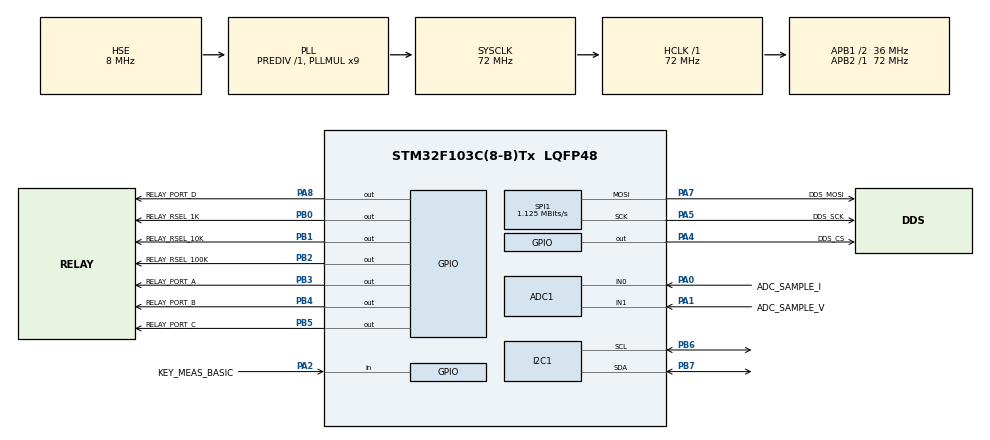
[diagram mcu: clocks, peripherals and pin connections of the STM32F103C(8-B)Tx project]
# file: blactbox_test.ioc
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ADC1.Channel-2\#ChannelRegularConversion=ADC_CHANNEL_0
ADC1.Channel-3\#ChannelRegularConversion=ADC_CHANNEL_1
ADC1.NbrOfConversion=2
ADC1.NbrOfConversionFlag=1
ADC1.Rank-2\#ChannelRegularConversion=1
ADC1.Rank-3\#ChannelRegularConversion=2
ADC1.SamplingTime-2\#ChannelRegularConversion=ADC_SAMPLETIME_239CYCLES_5
ADC1.SamplingTime-3\#ChannelRegularConversion=ADC_SAMPLETIME_239CYCLES_5
ADC1.master=1
Dma.ADC1.0.Direction=DMA_PERIPH_TO_MEMORY
Dma.ADC1.0.Instance=DMA1_Channel1
Dma.ADC1.0.MemDataAlignment=DMA_MDATAALIGN_HALFWORD
Dma.ADC1.0.MemInc=DMA_MINC_ENABLE
Dma.ADC1.0.Mode=DMA_NORMAL
Dma.ADC1.0.PeriphDataAlignment=DMA_PDATAALIGN_HALFWORD
Dma.ADC1.0.PeriphInc=DMA_PINC_DISABLE
Dma.ADC1.0.Priority=DMA_PRIORITY_LOW
Dma.Request0=ADC1
I2C1.I2C_Mode=I2C_Standard
Mcu.Family=STM32F1
Mcu.Name=STM32F103C(8-B)Tx
Mcu.Package=LQFP48
NVIC.DMA1_Channel1_IRQn=true\:0\:0\:false\:false\:true\:false\:true\:true
NVIC.PriorityGroup=NVIC_PRIORITYGROUP_4
PA0-WKUP.GPIO_Label=ADC_SAMPLE_I
PA0-WKUP.Signal=ADCx_IN0
PA1.GPIO_Label=ADC_SAMPLE_V
PA1.Signal=ADCx_IN1
PA13.Mode=Serial_Wire
PA13.Signal=SYS_JTMS-SWDIO
PA14.Mode=Serial_Wire
PA14.Signal=SYS_JTCK-SWCLK
PA2.GPIO_Label=KEY_MEAS_BASIC
PA2.GPIO_PuPd=GPIO_PULLDOWN
PA2.Signal=GPIO_Input
PA4.GPIO_Label=DDS_CS
PA4.PinState=GPIO_PIN_SET
PA4.Signal=GPIO_Output
PA5.GPIO_Label=DDS_SCK
PA5.Mode=TX_Only_Simplex_Unidirect_Master
PA5.Signal=SPI1_SCK
PA7.GPIO_Label=DDS_MOSI
PA7.Mode=TX_Only_Simplex_Unidirect_Master
PA7.Signal=SPI1_MOSI
PA8.GPIO_Label=RELAY_PORT_D
PA8.Signal=GPIO_Output
PB0.GPIO_Label=RELAY_RSEL_1K
PB0.Signal=GPIO_Output
PB1.GPIO_Label=RELAY_RSEL_10K
PB1.Signal=GPIO_Output
PB2.GPIO_Label=RELAY_RSEL_100K
PB2.Signal=GPIO_Output
PB3.GPIO_Label=RELAY_PORT_A
PB3.Signal=GPIO_Output
PB4.GPIO_Label=RELAY_PORT_B
PB4.Signal=GPIO_Output
PB5.GPIO_Label=RELAY_PORT_C
PB5.Signal=GPIO_Output
PB6.Mode=I2C
PB6.Signal=I2C1_SCL
PB7.Mode=I2C
PB7.Signal=I2C1_SDA
PD0-OSC_IN.Mode=HSE-External-Oscillator
PD0-OSC_IN.Signal=RCC_OSC_IN
PD1-OSC_OUT.Mode=HSE-External-Oscillator
PD1-OSC_OUT.Signal=RCC_OSC_OUT
ProjectManager.HeapSize=0x200
ProjectManager.StackSize=0x400
ProjectManager.TargetToolchain=CMake
RCC.ADCPresc=RCC_ADCPCLK2_DIV6
RCC.AHBFreq_Value=72000000
RCC.APB1CLKDivider=RCC_HCLK_DIV2
RCC.APB1Freq_Value=36000000
RCC.APB1TimFreq_Value=72000000
RCC.APB2Freq_Value=72000000
RCC.APB2TimFreq_Value=72000000
RCC.HCLKFreq_Value=72000000
RCC.PLLMUL=RCC_PLL_MUL9
RCC.PLLSourceVirtual=RCC_PLLSOURCE_HSE
RCC.SYSCLKFreq_VALUE=72000000
RCC.SYSCLKSource=RCC_SYSCLKSOURCE_PLLCLK
RCC.USBFreq_Value=72000000
SH.ADCx_IN0.0=ADC1_IN0,IN0
SH.ADCx_IN1.0=ADC1_IN1,IN1
SPI1.BaudRatePrescaler=SPI_BAUDRATEPRESCALER_64
SPI1.CalculateBaudRate=1.125 MBits/s
SPI1.DataSize=SPI_DATASIZE_16BIT
SPI1.Direction=SPI_DIRECTION_2LINES
SPI1.Mode=SPI_MODE_MASTER
SPI1.VirtualType=VM_MASTER
board=custom

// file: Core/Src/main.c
/* USER CODE BEGIN Header */
/**
 ******************************************************************************
 * @file           : main.c
 * @brief          : Main program body
 ******************************************************************************
 * @attention
 *
 * Copyright (c) 2026 STMicroelectronics.
 * All rights reserved.
 *
 * This software is licensed under terms that can be found in the LICENSE file
 * in the root directory of this software component.
 * If no LICENSE file comes with this software, it is provided AS-IS.
 *
 ******************************************************************************
 */
/* USER CODE END Header */
#include "main.h"

/* USER CODE BEGIN Includes */
#include <math.h>
#include <stdio.h>
#include <string.h>

#include "stm32f1xx_hal_adc.h"
#include "u8g2.h"

/* USER CODE END Includes */

/* USER CODE BEGIN PD */
/*********************************************************************************************************
 * 常量定义说明
 * AD9833_MCLK    : DDS芯片外部晶振频率 25MHz
 * AD9833_2POW28  : DDS频率寄存器位数 2^28
 * TEST_FREQ      : 测试激励信号频率 1kHz（正弦波）
 * SHORT_THRES    : 阻抗<50Ω 判定为短路
 * OPEN_THRES     : 阻抗>1MΩ 判定为断路
 * PI             : 圆周率，用于电容/相位计算
 * ADC_SAMPLE_NUM : ADC DMA单次采样点数（200点覆盖2个正弦周期，保证精度）
 *********************************************************************************************************/
#define AD9833_MCLK 25000000UL
#define AD9833_2POW28 268435456UL
#define TEST_FREQ 1000.0f
#define SHORT_THRES 50.0f
#define OPEN_THRES 1000000.0f
#define PI 3.1415926535f
#define ADC_SAMPLE_NUM 200
/* USER CODE END PD */

ADC_HandleTypeDef hadc1;
DMA_HandleTypeDef hdma_adc1;

I2C_HandleTypeDef hi2c1;

SPI_HandleTypeDef hspi1;

/* USER CODE BEGIN PV */
u8g2_t u8g2;                           // U8G2显示控制句柄：OLED屏幕操作核心
uint16_t adc_dma_buf[ADC_SAMPLE_NUM];  // ADC DMA采样缓冲区：存储200次原始采样值
/* USER CODE END PV */

void SystemClock_Config(void);
static void MX_GPIO_Init(void);
static void MX_DMA_Init(void);
static void MX_ADC1_Init(void);
static void MX_SPI1_Init(void);
static void MX_I2C1_Init(void);
/* USER CODE BEGIN PFP */
// 底层硬件驱动函数
void AD9833_Write(uint16_t data);
void AD9833_Init(void);
void OLED_Init(void);

// 继电器控制函数
void All_Relay_Off(void);
void Set_Sampling_Res(uint8_t res);
void Set_Port(uint8_t port, uint8_t state);

// 信号采集与处理函数
float Get_ADC_RMS_DMA(uint32_t ch);
float Get_Phase_Diff(void);

// 核心测量函数
uint8_t Auto_Switch_Res(void);
void Measure_Impedance(uint8_t port_x, uint8_t port_y, float *z, float *phase, uint8_t *type);

// 测量模式函数
void Basic_Measure(void);
void Extend_Measure(void);

// 自动识别函数
uint8_t Auto_Detect_Mode(void);

// 工具函数
uint8_t Key_Scan(void);
uint8_t u8x8_byte_stm32_hal_i2c(u8x8_t *u8x8, uint8_t msg, uint8_t arg_int, void *arg_ptr);
uint8_t u8x8_gpio_and_delay_stm32(u8x8_t *u8x8, uint8_t msg, uint8_t arg_int, void *arg_ptr);
void HAL_Delay_us(uint32_t us);
/* USER CODE END PFP */

int main(void)
{

    /* MCU Configuration--------------------------------------------------------*/

    /* Reset of all peripherals, Initializes the Flash interface and the Systick. */
    HAL_Init();

    /* Configure the system clock */
    SystemClock_Config();

    /* Initialize all configured peripherals */
    MX_GPIO_Init();
    MX_DMA_Init();
    MX_ADC1_Init();
    MX_SPI1_Init();
    MX_I2C1_Init();
    /* USER CODE BEGIN 2 */
    AD9833_Init();    // 初始化波形发生器
    OLED_Init();      // 初始化OLED屏幕
    All_Relay_Off();  // 复位所有继电器
    u8g2_ClearBuffer(&u8g2);
    u8g2_DrawStr(&u8g2, 10, 20, "Black Box Tester");
    u8g2_DrawStr(&u8g2, 0, 40, "Press Key to Start");
    u8g2_SendBuffer(&u8g2);
    /* USER CODE END 2 */

    /* Infinite loop */
    /* USER CODE BEGIN WHILE */
    while (1)
    {
        uint8_t key = Key_Scan();  // 扫描按键

        // 按键按下：自动识别模式并测量
        if (key == 1)
        {
            uint8_t mode = Auto_Detect_Mode();
            if (mode == 0)
                Basic_Measure();  // 执行基础测量
            else
                Extend_Measure();  // 执行发挥测量
        }
        HAL_Delay(10);  // 10ms延时：降低CPU负载
        /* USER CODE END WHILE */

    }
}

void SystemClock_Config(void)
{
    RCC_OscInitTypeDef RCC_OscInitStruct = {0};
    RCC_ClkInitTypeDef RCC_ClkInitStruct = {0};
    RCC_PeriphCLKInitTypeDef PeriphClkInit = {0};

    /** Initializes the RCC Oscillators according to the specified parameters
     * in the RCC_OscInitTypeDef structure.
     */
    RCC_OscInitStruct.OscillatorType = RCC_OSCILLATORTYPE_HSE;
    RCC_OscInitStruct.HSEState = RCC_HSE_ON;
    RCC_OscInitStruct.HSEPredivValue = RCC_HSE_PREDIV_DIV1;
    RCC_OscInitStruct.HSIState = RCC_HSI_ON;
    RCC_OscInitStruct.PLL.PLLState = RCC_PLL_ON;
    RCC_OscInitStruct.PLL.PLLSource = RCC_PLLSOURCE_HSE;
    RCC_OscInitStruct.PLL.PLLMUL = RCC_PLL_MUL9;
    if (HAL_RCC_OscConfig(&RCC_OscInitStruct) != HAL_OK)
    {
        Error_Handler();
    }

    /** Initializes the CPU, AHB and APB buses clocks
     */
    RCC_ClkInitStruct.ClockType = RCC_CLOCKTYPE_HCLK | RCC_CLOCKTYPE_SYSCLK | RCC_CLOCKTYPE_PCLK1 | RCC_CLOCKTYPE_PCLK2;
    RCC_ClkInitStruct.SYSCLKSource = RCC_SYSCLKSOURCE_PLLCLK;
    RCC_ClkInitStruct.AHBCLKDivider = RCC_SYSCLK_DIV1;
    RCC_ClkInitStruct.APB1CLKDivider = RCC_HCLK_DIV2;
    RCC_ClkInitStruct.APB2CLKDivider = RCC_HCLK_DIV1;

    if (HAL_RCC_ClockConfig(&RCC_ClkInitStruct, FLASH_LATENCY_2) != HAL_OK)
    {
        Error_Handler();
    }
    PeriphClkInit.PeriphClockSelection = RCC_PERIPHCLK_ADC;
    PeriphClkInit.AdcClockSelection = RCC_ADCPCLK2_DIV6;
    if (HAL_RCCEx_PeriphCLKConfig(&PeriphClkInit) != HAL_OK)
    {
        Error_Handler();
    }
}

static void MX_ADC1_Init(void)
{

    ADC_ChannelConfTypeDef sConfig = {0};

    /** Common config
     */
    hadc1.Instance = ADC1;
    hadc1.Init.ScanConvMode = ADC_SCAN_ENABLE;
    hadc1.Init.ContinuousConvMode = DISABLE;
    hadc1.Init.DiscontinuousConvMode = DISABLE;
    hadc1.Init.ExternalTrigConv = ADC_SOFTWARE_START;
    hadc1.Init.DataAlign = ADC_DATAALIGN_RIGHT;
    hadc1.Init.NbrOfConversion = 2;
    if (HAL_ADC_Init(&hadc1) != HAL_OK)
    {
        Error_Handler();
    }

    /** Configure Regular Channel
     */
    sConfig.Channel = ADC_CHANNEL_0;
    sConfig.Rank = ADC_REGULAR_RANK_1;
    sConfig.SamplingTime = ADC_SAMPLETIME_239CYCLES_5;
    if (HAL_ADC_ConfigChannel(&hadc1, &sConfig) != HAL_OK)
    {
        Error_Handler();
    }

    /** Configure Regular Channel
     */
    sConfig.Channel = ADC_CHANNEL_1;
    sConfig.Rank = ADC_REGULAR_RANK_2;
    if (HAL_ADC_ConfigChannel(&hadc1, &sConfig) != HAL_OK)
    {
        Error_Handler();
    }
}

static void MX_I2C1_Init(void)
{

    hi2c1.Instance = I2C1;
    hi2c1.Init.ClockSpeed = 100000;
    hi2c1.Init.DutyCycle = I2C_DUTYCYCLE_2;
    hi2c1.Init.OwnAddress1 = 0;
    hi2c1.Init.AddressingMode = I2C_ADDRESSINGMODE_7BIT;
    hi2c1.Init.DualAddressMode = I2C_DUALADDRESS_DISABLE;
    hi2c1.Init.OwnAddress2 = 0;
    hi2c1.Init.GeneralCallMode = I2C_GENERALCALL_DISABLE;
    hi2c1.Init.NoStretchMode = I2C_NOSTRETCH_DISABLE;
    if (HAL_I2C_Init(&hi2c1) != HAL_OK)
    {
        Error_Handler();
    }
}

static void MX_SPI1_Init(void)
{

    /* SPI1 parameter configuration*/
    hspi1.Instance = SPI1;
    hspi1.Init.Mode = SPI_MODE_MASTER;
    hspi1.Init.Direction = SPI_DIRECTION_2LINES;
    hspi1.Init.DataSize = SPI_DATASIZE_16BIT;
    hspi1.Init.CLKPolarity = SPI_POLARITY_LOW;
    hspi1.Init.CLKPhase = SPI_PHASE_1EDGE;
    hspi1.Init.NSS = SPI_NSS_SOFT;
    hspi1.Init.BaudRatePrescaler = SPI_BAUDRATEPRESCALER_64;
    hspi1.Init.FirstBit = SPI_FIRSTBIT_MSB;
    hspi1.Init.TIMode = SPI_TIMODE_DISABLE;
    hspi1.Init.CRCCalculation = SPI_CRCCALCULATION_DISABLE;
    hspi1.Init.CRCPolynomial = 10;
    if (HAL_SPI_Init(&hspi1) != HAL_OK)
    {
        Error_Handler();
    }
}

static void MX_DMA_Init(void)
{
    /* DMA controller clock enable */
    __HAL_RCC_DMA1_CLK_ENABLE();

    /* DMA interrupt init */
    /* DMA1_Channel1_IRQn interrupt configuration */
    HAL_NVIC_SetPriority(DMA1_Channel1_IRQn, 0, 0);
    HAL_NVIC_EnableIRQ(DMA1_Channel1_IRQn);
}

static void MX_GPIO_Init(void)
{
    GPIO_InitTypeDef GPIO_InitStruct = {0};

    /* GPIO Ports Clock Enable */
    __HAL_RCC_GPIOD_CLK_ENABLE();
    __HAL_RCC_GPIOA_CLK_ENABLE();
    __HAL_RCC_GPIOB_CLK_ENABLE();

    /*Configure GPIO pin Output Level */
    HAL_GPIO_WritePin(DDS_CS_GPIO_Port, DDS_CS_Pin, GPIO_PIN_SET);

    /*Configure GPIO pin Output Level */
    HAL_GPIO_WritePin(GPIOB,
                      RELAY_RSEL_1K_Pin | RELAY_RSEL_10K_Pin | RELAY_RSEL_100K_Pin | RELAY_PORT_A_Pin |
                          RELAY_PORT_B_Pin | RELAY_PORT_C_Pin,
                      GPIO_PIN_RESET);

    /*Configure GPIO pin Output Level */
    HAL_GPIO_WritePin(RELAY_PORT_D_GPIO_Port, RELAY_PORT_D_Pin, GPIO_PIN_RESET);

    /*Configure GPIO pin : KEY_MEAS_BASIC_Pin */
    GPIO_InitStruct.Pin = KEY_MEAS_BASIC_Pin;
    GPIO_InitStruct.Mode = GPIO_MODE_INPUT;
    GPIO_InitStruct.Pull = GPIO_PULLDOWN;
    HAL_GPIO_Init(KEY_MEAS_BASIC_GPIO_Port, &GPIO_InitStruct);

    /*Configure GPIO pins : DDS_CS_Pin RELAY_PORT_D_Pin */
    GPIO_InitStruct.Pin = DDS_CS_Pin | RELAY_PORT_D_Pin;
    GPIO_InitStruct.Mode = GPIO_MODE_OUTPUT_PP;
    GPIO_InitStruct.Pull = GPIO_NOPULL;
    GPIO_InitStruct.Speed = GPIO_SPEED_FREQ_LOW;
    HAL_GPIO_Init(GPIOA, &GPIO_InitStruct);

    /*Configure GPIO pins : RELAY_RSEL_1K_Pin RELAY_RSEL_10K_Pin RELAY_RSEL_100K_Pin RELAY_PORT_A_Pin
                             RELAY_PORT_B_Pin RELAY_PORT_C_Pin */
    GPIO_InitStruct.Pin = RELAY_RSEL_1K_Pin | RELAY_RSEL_10K_Pin | RELAY_RSEL_100K_Pin | RELAY_PORT_A_Pin |
                          RELAY_PORT_B_Pin | RELAY_PORT_C_Pin;
    GPIO_InitStruct.Mode = GPIO_MODE_OUTPUT_PP;
    GPIO_InitStruct.Pull = GPIO_NOPULL;
    GPIO_InitStruct.Speed = GPIO_SPEED_FREQ_LOW;
    HAL_GPIO_Init(GPIOB, &GPIO_InitStruct);

}

/* USER CODE BEGIN 4 */
/**
 * @brief  向AD9833芯片写入16位SPI控制指令
 * @param  data: 待写入的16位控制字/数据字
 * @retval 无
 * @note   遵循AD9833 SPI通信时序：先拉低CS，发送数据，再拉高CS
 */
void AD9833_Write(uint16_t data)
{
    // 拉低片选引脚：启动SPI通信（硬件协议强制要求）
    HAL_GPIO_WritePin(DDS_CS_GPIO_Port, DDS_CS_Pin, GPIO_PIN_RESET);
    // 发送16位数据：SPI主机传输，超时时间100ms
    HAL_SPI_Transmit(&hspi1, (uint8_t *)&data, 1, 100);
    // 拉高片选引脚：结束SPI通信
    HAL_GPIO_WritePin(DDS_CS_GPIO_Port, DDS_CS_Pin, GPIO_PIN_SET);
}

/**
 * @brief  初始化AD9833 DDS波形发生器
 * @param  无
 * @retval 无
 * @note   配置输出1kHz正弦波，为黑箱测量提供激励信号
 */
void AD9833_Init(void)
{
    AD9833_Write(0x0100);  // 写入复位指令：重置AD9833所有寄存器
    HAL_Delay(2);          // 延时2ms：等待芯片完成复位（硬件时序要求）

    // 计算频率控制字：公式 FREQ_WORD = Fout * 2^28 / MCLK
    // 强制转换uint64_t：避免32位计算溢出
    uint32_t freq_word = (uint64_t)TEST_FREQ * AD9833_2POW28 / AD9833_MCLK;

    AD9833_Write(0x4000 | (freq_word & 0x3FFF));          // 写入频率寄存器低14位
    AD9833_Write(0x8000 | ((freq_word >> 14) & 0x3FFF));  // 写入频率寄存器高14位

    AD9833_Write(0x2000);  // 配置输出模式：正弦波输出，退出复位状态
}

/**
 * @brief  U8G2库I2C字节发送回调函数（STM32 HAL适配）
 * @param  u8x8: U8G2库核心控制结构体指针，存储显示配置与状态
 * @param  msg: U8G2库消息类型，仅处理数据发送消息
 * @param  arg_int: 待发送的数据字节长度
 * @param  arg_ptr: 待发送数据的缓冲区指针
 * @retval uint8_t: 固定返回1，表示函数执行成功
 * @note   仅实现I2C数据发送功能，满足OLED通信需求
 */
uint8_t u8x8_byte_stm32_hal_i2c(u8x8_t *u8x8, uint8_t msg, uint8_t arg_int, void *arg_ptr)
{
    static uint8_t buffer[32];
    static uint8_t buf_idx;
    uint8_t *data;

    switch (msg)
    {
        case U8X8_MSG_BYTE_SEND:
            data = (uint8_t *)arg_ptr;
            while (arg_int > 0)
            {
                buffer[buf_idx++] = *data;
                data++;
                arg_int--;
            }
            break;
        case U8X8_MSG_BYTE_INIT:
            break;
        case U8X8_MSG_BYTE_SET_DC:
            break;
        case U8X8_MSG_BYTE_START_TRANSFER:
            buf_idx = 0;  // 传输开始重置索引，消除脏数据
            break;
        case U8X8_MSG_BYTE_END_TRANSFER:
            // 你原本正常的发送方式，完全保留
            HAL_I2C_Master_Transmit(&hi2c1, 0x3C << 1, buffer, buf_idx, 100);
            buf_idx = 0;  // 传输结束重置索引，双重保险
            break;
        default:
            return 0;
    }
    return 1;
}

/**
 * @brief  U8G2库GPIO与延时回调函数
 * @param  u8x8: U8G2库核心控制结构体指针
 * @param  msg: U8G2库消息类型，仅处理延时消息
 * @param  arg_int: 延时时间（单位：毫秒）
 * @param  arg_ptr: 备用参数指针，本函数未使用
 * @retval uint8_t: 固定返回1，表示函数执行成功
 * @note   仅实现毫秒级延时，满足OLED初始化/刷新时序要求
 */
uint8_t u8x8_gpio_and_delay_stm32(u8x8_t *u8x8, uint8_t msg, uint8_t arg_int, void *arg_ptr)
{
    switch (msg)
    {
        case U8X8_MSG_DELAY_MILLI:
            HAL_Delay(arg_int);
            break;
        case U8X8_MSG_DELAY_10MICRO:
            HAL_Delay_us(10);
            break;
        case U8X8_MSG_DELAY_100NANO:
            break;
        default:
            break;
    }
    return 1;
}

/**
 * @brief  初始化SSD1306 OLED显示屏（128x64 I2C接口）
 * @param  无
 * @retval 无
 * @note   绑定硬件驱动函数，初始化屏幕并清空显示缓冲区
 */
void OLED_Init(void)
{
    // 1. 绑定驱动（参数顺序保持你正确的写法）
    u8g2_Setup_ssd1306_i2c_128x64_noname_f(&u8g2, U8G2_R0, u8x8_byte_stm32_hal_i2c, u8x8_gpio_and_delay_stm32);

    // 2. 初始化屏幕硬件
    u8g2_InitDisplay(&u8g2);

    // 3. 上电稳定延时
    HAL_Delay(100);

    // 4. 关闭省电模式（点亮屏幕）
    u8g2_SetPowerSave(&u8g2, 0);

    // 5. 清空显存+刷新
    u8g2_ClearBuffer(&u8g2);
    u8g2_SendBuffer(&u8g2);

    // 6. 设置字体
    u8g2_SetFont(&u8g2, u8g2_font_ncenB08_tr);
}

/**
 * @brief  关闭所有继电器
 * @param  无
 * @retval 无
 * @note   系统初始化/测量完成后调用，复位硬件状态
 */
void All_Relay_Off(void)
{
    // 关闭量程选择继电器（1k/10k/100k）
    HAL_GPIO_WritePin(RELAY_RSEL_1K_GPIO_Port, RELAY_RSEL_1K_Pin, GPIO_PIN_RESET);
    HAL_GPIO_WritePin(RELAY_RSEL_10K_GPIO_Port, RELAY_RSEL_10K_Pin, GPIO_PIN_RESET);
    HAL_GPIO_WritePin(RELAY_RSEL_100K_GPIO_Port, RELAY_RSEL_100K_Pin, GPIO_PIN_RESET);
    // 关闭端口选择继电器（A/B/C/D）
    HAL_GPIO_WritePin(RELAY_PORT_A_GPIO_Port, RELAY_PORT_A_Pin, GPIO_PIN_RESET);
    HAL_GPIO_WritePin(RELAY_PORT_B_GPIO_Port, RELAY_PORT_B_Pin, GPIO_PIN_RESET);
    HAL_GPIO_WritePin(RELAY_PORT_C_GPIO_Port, RELAY_PORT_C_Pin, GPIO_PIN_RESET);
    HAL_GPIO_WritePin(RELAY_PORT_D_GPIO_Port, RELAY_PORT_D_Pin, GPIO_PIN_RESET);
}

/**
 * @brief  设置采样电阻量程
 * @param  res: 量程编号 0=1kΩ 1=10kΩ 2=100kΩ
 * @retval 无
 * @note   切换前先关闭所有继电器，防止短路损坏硬件
 */
void Set_Sampling_Res(uint8_t res)
{
    All_Relay_Off();  // 复位所有继电器：安全切换量程

    // 根据量程编号闭合对应继电器
    switch (res)
    {
        case 0:
            HAL_GPIO_WritePin(RELAY_RSEL_1K_GPIO_Port, RELAY_RSEL_1K_Pin, GPIO_PIN_SET);
            break;
        case 1:
            HAL_GPIO_WritePin(RELAY_RSEL_10K_GPIO_Port, RELAY_RSEL_10K_Pin, GPIO_PIN_SET);
            break;
        case 2:
            HAL_GPIO_WritePin(RELAY_RSEL_100K_GPIO_Port, RELAY_RSEL_100K_Pin, GPIO_PIN_SET);
            break;
        default:
            break;
    }
}

/**
 * @brief  控制测试端口继电器通断
 * @param  port: 端口编号 0=A 1=B 2=C 3=D
 * @param  state: 继电器状态 1=闭合(接通) 0=断开(关闭)
 * @retval 无
 * @note   使用数组映射简化GPIO控制代码，提升可读性
 */
void Set_Port(uint8_t port, uint8_t state)
{
    // 端口GPIO端口数组映射：编号→硬件端口
    GPIO_TypeDef *port_gpio[] = {RELAY_PORT_A_GPIO_Port, RELAY_PORT_B_GPIO_Port, RELAY_PORT_C_GPIO_Port,
                                 RELAY_PORT_D_GPIO_Port};
    // 端口GPIO引脚数组映射：编号→硬件引脚
    uint16_t port_pin[] = {RELAY_PORT_A_Pin, RELAY_PORT_B_Pin, RELAY_PORT_C_Pin, RELAY_PORT_D_Pin};

    // 控制对应端口继电器
    HAL_GPIO_WritePin(port_gpio[port], port_pin[port], state ? GPIO_PIN_SET : GPIO_PIN_RESET);
}

/**
 * @brief  微秒级精准延时函数
 * @param  us: 延时时间（单位：微秒）
 * @retval 无
 * @note   基于SysTick定时器实现，弥补HAL库无微秒延时的缺陷
 */
void HAL_Delay_us(uint32_t us)
{
    // 计算所需SysTick时钟周期数
    uint32_t ticks = us * (SystemCoreClock / 1000000);
    uint32_t start = SysTick->VAL;
    uint32_t elapsed = 0;

    // 循环计数，达到指定延时时间退出
    while (elapsed < ticks)
    {
        uint32_t curr = SysTick->VAL;
        // 处理SysTick计数器溢出情况
        elapsed += (curr > start) ? (SysTick->LOAD - curr + start) : (start - curr);
        start = curr;
    }
}

/**
 * @brief  DMA方式采集ADC电压有效值（RMS）
 * @param  ch: ADC采集通道编号
 * @retval float: 电压有效值（绝对值，单位：V）
 * @note   200次DMA采样+RMS算法，提升交流信号测量精度
 */
float Get_ADC_RMS_DMA(uint32_t ch)
{
    // 定义通道配置结构体
    ADC_ChannelConfTypeDef sConfig = {0};

    // 配置通道参数
    sConfig.Channel = ch;  // 传入通道号
    sConfig.Rank = ADC_REGULAR_RANK_1;
    sConfig.SamplingTime = ADC_SAMPLETIME_239CYCLES_5;  // 239.5周期

    HAL_ADC_ConfigChannel(&hadc1, &sConfig);

    // 启动DMA采样
    HAL_ADC_Start_DMA(&hadc1, (uint32_t *)adc_dma_buf, ADC_SAMPLE_NUM);

    HAL_DMA_PollForTransfer(hadc1.DMA_Handle, HAL_DMA_FULL_TRANSFER, 100);

    HAL_ADC_Stop_DMA(&hadc1);

    // RMS计算
    uint64_t sum_sq = 0;
    for (uint16_t i = 0; i < ADC_SAMPLE_NUM; i++)
    {
        sum_sq += (uint64_t)adc_dma_buf[i] * adc_dma_buf[i];
    }

    float rms_adc = sqrtf((float)sum_sq / ADC_SAMPLE_NUM);
    float voltage = (rms_adc * 3.3f / 4095.0f) - 1.65f;
    return fabsf(voltage);
}

/**
 * @brief  自动匹配采样电阻量程
 * @param  无
 * @retval uint8_t: 最终匹配的量程编号 0=1k 1=10k 2=100k
 * @note   根据采样电压自动调整，保证测量在最佳精度区间
 */
uint8_t Auto_Switch_Res(void)
{
    uint8_t res = 1;  // 默认初始量程：10kΩ
    Set_Sampling_Res(res);
    HAL_Delay(5);                                 // 延时5ms：等待继电器机械吸合稳定
    float v_rs = Get_ADC_RMS_DMA(ADC_CHANNEL_0);  // 读取采样电阻电压

    // 电压过小：切换更大量程，避免信号精度丢失
    if (v_rs < 0.2f && res < 2)
    {
        res++;
        Set_Sampling_Res(res);
        HAL_Delay(5);
    }
    // 电压过大：切换更小量程，避免信号饱和失真
    else if (v_rs > 2.5f && res > 0)
    {
        res--;
        Set_Sampling_Res(res);
        HAL_Delay(5);
    }
    return res;
}

/**
 * @brief  测量指定端口的阻抗、相位、元件类型
 * @param  port_x: 测量正端口编号
 * @param  port_y: 测量负端口编号
 * @param  z: 阻抗值输出指针（单位：Ω）
 * @param  phase: 相位差输出指针（单位：度）
 * @param  type: 元件类型输出指针 0=开路 1=短路 2=电阻 3=电容
 * @retval 无
 * @note   核心测量函数，集成量程自动切换、阻抗计算、类型判断
 */
void Measure_Impedance(uint8_t port_x, uint8_t port_y, float *z, float *phase, uint8_t *type)
{
    All_Relay_Off();                  // 复位所有继电器
    Set_Port(port_x, 1);              // 接通正端口
    Set_Port(port_y, 0);              // 接通负端口
    uint8_t res = Auto_Switch_Res();  // 自动匹配最佳量程
    // 量程对应采样电阻值数组
    float r_samp[] = {1000.0f, 10000.0f, 100000.0f};

    // 采集两路电压：采样电阻电压 + 被测元件电压
    float v_rs = Get_ADC_RMS_DMA(ADC_CHANNEL_0);
    float v_z = Get_ADC_RMS_DMA(ADC_CHANNEL_1);
    float current = v_rs / r_samp[res];  // 欧姆定律计算回路电流

    // 电流极小：判定为开路
    if (current < 1e-7f)
    {
        *z = 1e7f;
        *type = 0;
        *phase = 0;
        return;
    }
    *z = v_z / current;  // 计算阻抗：Z = V元件 / I回路

    // 阻抗极小：判定为短路
    if (*z < SHORT_THRES)
    {
        *type = 1;
        *phase = 0;
        return;
    }
    // 阻抗极大：判定为开路
    if (*z > OPEN_THRES)
    {
        *type = 0;
        *phase = 0;
        return;
    }

    // 计算相位差：区分电阻（相位≈0）和电容（相位≠0）
    *phase = Get_Phase_Diff();
    if (fabsf(*phase) < 10.0f)
    {
        *type = 2;  // 纯电阻
    }
    else
    {
        *type = 3;  // 电容
    }
}

/**
 * @brief  计算两路信号的相位差
 * @param  无
 * @retval float: 相位差绝对值（单位：度）
 * @note   通过检测信号过零点时间差计算相位，用于区分阻容元件
 */
float Get_Phase_Diff(void)
{
    uint32_t t1 = 0, t2 = 0;                    // 两路信号过零时间戳
    uint16_t val1, val2;                        // ADC原始采样值
    uint8_t flag1 = 0, flag2 = 0;               // 过零检测标志位
    uint16_t lastval1 = 2049, lastval2 = 2049;  // 上一次采集值
    // 最多检测1000次：防止程序卡死
    for (uint32_t i = 0; i < 1000; i++)
    {
        // 采集ADC通道0信号
        ADC_ChannelConfTypeDef sConfig1 = {0};
        sConfig1.Channel = ADC_CHANNEL_0;
        sConfig1.Rank = ADC_REGULAR_RANK_1;
        sConfig1.SamplingTime = ADC_SAMPLETIME_239CYCLES_5;
        HAL_ADC_ConfigChannel(&hadc1, &sConfig1);
        HAL_ADC_Start(&hadc1);
        HAL_ADC_PollForConversion(&hadc1, 10);
        val1 = HAL_ADC_GetValue(&hadc1);
        HAL_ADC_Stop(&hadc1);

        // 采集ADC通道1信号
        ADC_ChannelConfTypeDef sConfig2 = {0};
        sConfig2.Channel = ADC_CHANNEL_1;
        sConfig2.Rank = ADC_REGULAR_RANK_1;
        sConfig2.SamplingTime = ADC_SAMPLETIME_239CYCLES_5;
        HAL_ADC_ConfigChannel(&hadc1, &sConfig2);
        HAL_ADC_Start(&hadc1);
        HAL_ADC_PollForConversion(&hadc1, 10);
        val2 = HAL_ADC_GetValue(&hadc1);
        HAL_ADC_Stop(&hadc1);

        // 检测通道0过零点：2048对应1.65V直流偏置中点
        if (val1 >= 2048 && lastval1 <= 2048 && flag1 == 0)
        {
            t1 = HAL_GetTick();
            flag1 = 1;
        }
        else
        {
            lastval1 = val1;
        }
        // 检测通道1过零点
        if (val2 >= 2048 && lastval2 <= 2048 && flag2 == 0)
        {
            t2 = HAL_GetTick();
            flag2 = 1;
        }
        else
        {
            lastval2 = val2;
        }
        // 两路均检测到过零：退出循环
        if (flag1 && flag2) break;
        HAL_Delay_us(10);
    }

    int32_t dt = (int32_t)t2 - (int32_t)t1;      // 计算时间差
    float phase = (float)dt * 360.0f / 1000.0f;  // 时间差转换为相位差
    return fabsf(phase);                         // 返回绝对值
}

/**
 * @brief  基础测量模式（双元件：电阻/电容）
 * @param  无
 * @retval 无
 * @note   自动识别拓扑结构，测量并显示双元件参数
 */
void Basic_Measure(void)
{
    u8g2_ClearBuffer(&u8g2);
    u8g2_DrawStr(&u8g2, 0, 12, "Basic Mode");
    u8g2_SendBuffer(&u8g2);

    float z1, z2, z3, z4, phase;
    uint8_t type1, type2, type3, type4;
    char buf[32];  // 字符串显示缓冲区

    // 测量所有端口组合，判断黑箱拓扑结构
    Measure_Impedance(0, 2, &z1, &phase, &type1);
    Measure_Impedance(1, 3, &z2, &phase, &type2);
    Measure_Impedance(0, 3, &z3, &phase, &type3);
    Measure_Impedance(1, 2, &z4, &phase, &type4);

    // 判断拓扑：并联/交叉
    uint8_t is_parallel = 0;
    if (type3 == 0 && type4 == 0)
        is_parallel = 1;
    else if (type1 == 0 && type2 == 0)
        is_parallel = 0;

    float z_a, z_b;
    uint8_t type_a, type_b;
    float phase_a, phase_b;

    // 根据拓扑结构测量有效元件
    if (is_parallel)
    {
        Measure_Impedance(0, 2, &z_a, &phase_a, &type_a);
        Measure_Impedance(1, 3, &z_b, &phase_b, &type_b);
    }
    else
    {
        Measure_Impedance(0, 3, &z_a, &phase_a, &type_a);
        Measure_Impedance(1, 2, &z_b, &phase_b, &type_b);
    }

    // 计算元件参数：电阻/电容/品质因数
    float r_a = 0, c_a = 0, q_a = 0;
    float r_b = 0, c_b = 0, q_b = 0;
    if (type_a == 2)
    {
        r_a = z_a;
        q_a = 999.0f;
    }  // 电阻Q值标记为999
    else if (type_a == 3)
    {
        c_a = 1.0f / (2 * PI * TEST_FREQ * z_a) * 1e9f;
        q_a = tanf(phase_a * PI / 180);
    }
    if (type_b == 2)
    {
        r_b = z_b;
        q_b = 999.0f;
    }
    else if (type_b == 3)
    {
        c_b = 1.0f / (2 * PI * TEST_FREQ * z_b) * 1e9f;
        q_b = tanf(phase_b * PI / 180);
    }

    // OLED显示测量结果
    u8g2_ClearBuffer(&u8g2);
    u8g2_DrawStr(&u8g2, 0, 10, is_parallel ? "Topo: Parallel" : "Topo: Cross");
    u8g2_DrawStr(&u8g2, 0, 22, "Ch1:");
    if (type_a == 0)
        u8g2_DrawStr(&u8g2, 30, 22, "Open");
    else if (type_a == 1)
        u8g2_DrawStr(&u8g2, 30, 22, "Short");
    else if (type_a == 2)
    {
        sprintf(buf, "R=%.1f Ohm", r_a);
        u8g2_DrawStr(&u8g2, 30, 22, buf);
    }
    else if (type_a == 3)
    {
        sprintf(buf, "C=%.1f nF", c_a);
        u8g2_DrawStr(&u8g2, 30, 22, buf);
        sprintf(buf, "Q=%.1f", q_a);
        u8g2_DrawStr(&u8g2, 30, 32, buf);
    }

    u8g2_DrawStr(&u8g2, 0, 44, "Ch2:");
    if (type_b == 0)
        u8g2_DrawStr(&u8g2, 30, 44, "Open");
    else if (type_b == 1)
        u8g2_DrawStr(&u8g2, 30, 44, "Short");
    else if (type_b == 2)
    {
        sprintf(buf, "R=%.1f Ohm", r_b);
        u8g2_DrawStr(&u8g2, 30, 44, buf);
    }
    else if (type_b == 3)
    {
        sprintf(buf, "C=%.1f nF", c_b);
        u8g2_DrawStr(&u8g2, 30, 44, buf);
        sprintf(buf, "Q=%.1f", q_b);
        u8g2_DrawStr(&u8g2, 30, 54, buf);
    }

    u8g2_SendBuffer(&u8g2);
    All_Relay_Off();  // 测量完成，复位继电器
}

/**
 * @brief  拓展测量模式（三元件+短路检测）
 * @param  无
 * @retval 无
 * @note   测量三元件参数，自动识别短路位置，完整显示Q值
 */
void Extend_Measure(void)
{
    u8g2_ClearBuffer(&u8g2);
    u8g2_DrawStr(&u8g2, 0, 12, "Extend Mode");
    u8g2_SendBuffer(&u8g2);

    float z1, z2, z3, phase;
    uint8_t type1, type2, type3;
    char buf[32];

    // 测量拓展题核心端口
    Measure_Impedance(0, 2, &z1, &phase, &type1);
    Measure_Impedance(1, 3, &z2, &phase, &type2);
    Measure_Impedance(2, 3, &z3, &phase, &type3);

    // 判断题型：I型/II型（含短路）
    uint8_t is_type1 = 0;
    uint8_t short_pos = 0;
    if (type1 != 1 && type2 != 1)
        is_type1 = 1;
    else
    {
        is_type1 = 0;
        short_pos = (type1 == 1) ? 1 : 2;
    }

    // 计算Unk3元件参数（公共端元件）
    float r3 = 0, c3 = 0, q3 = 0;
    if (type3 == 2)
    {
        r3 = z3;
        q3 = 999.0f;
    }
    else if (type3 == 3)
    {
        c3 = 1.0f / (2 * PI * TEST_FREQ * z3) * 1e9f;
        q3 = tanf(phase * PI / 180);
    }

    // 计算Unk1元件参数
    float r1 = 0, c1 = 0, q1 = 0;
    if (type1 == 2)
    {
        r1 = z1;
        q1 = 999.0f;
    }
    else if (type1 == 3)
    {
        c1 = 1.0f / (2 * PI * TEST_FREQ * z1) * 1e9f;
        q1 = tanf(phase * PI / 180);
    }

    // 计算Unk2元件参数
    float r2 = 0, c2 = 0, q2 = 0;
    if (type2 == 2)
    {
        r2 = z2;
        q2 = 999.0f;
    }
    else if (type2 == 3)
    {
        c2 = 1.0f / (2 * PI * TEST_FREQ * z2) * 1e9f;
        q2 = tanf(phase * PI / 180);
    }

    // OLED显示测量结果
    u8g2_ClearBuffer(&u8g2);
    // 显示题型
    u8g2_DrawStr(&u8g2, 0, 10, is_type1 ? "Type: I" : "Type: II");
    if (!is_type1)
    {
        sprintf(buf, "Short: Unk%d", short_pos);
        u8g2_DrawStr(&u8g2, 60, 10, buf);
    }

    // 显示Unk3
    u8g2_DrawStr(&u8g2, 0, 22, "Unk3:");
    if (type3 == 2)
    {
        sprintf(buf, "R=%.1f Ohm", r3);
        u8g2_DrawStr(&u8g2, 35, 22, buf);
    }
    else if (type3 == 3)
    {
        sprintf(buf, "C=%.1f nF", c3);
        u8g2_DrawStr(&u8g2, 35, 22, buf);
        sprintf(buf, "Q=%.1f", q3);
        u8g2_DrawStr(&u8g2, 35, 32, buf);
    }

    // 显示Unk1
    u8g2_DrawStr(&u8g2, 0, 44, "Unk1:");
    if (type1 == 1)
        u8g2_DrawStr(&u8g2, 35, 44, "Short");
    else if (type1 == 2)
    {
        sprintf(buf, "R=%.1f Ohm", r1);
        u8g2_DrawStr(&u8g2, 35, 44, buf);
    }
    else if (type1 == 3)
    {
        sprintf(buf, "C=%.1f nF", c1);
        u8g2_DrawStr(&u8g2, 35, 44, buf);
        sprintf(buf, "Q=%.1f", q1);
        u8g2_DrawStr(&u8g2, 35, 54, buf);
    }

    // 显示Unk2
    u8g2_DrawStr(&u8g2, 64, 44, "Unk2:");
    if (type2 == 1)
        u8g2_DrawStr(&u8g2, 99, 44, "Short");
    else if (type2 == 2)
    {
        sprintf(buf, "R=%.1f", r2);
        u8g2_DrawStr(&u8g2, 99, 44, buf);
    }
    else if (type2 == 3)
    {
        sprintf(buf, "C=%.1f", c2);
        u8g2_DrawStr(&u8g2, 99, 44, buf);
        sprintf(buf, "Q=%.1f", q2);
        u8g2_DrawStr(&u8g2, 99, 54, buf);
    }

    u8g2_SendBuffer(&u8g2);
    All_Relay_Off();
}

/**
 * @brief  自动识别测量模式
 * @param  无
 * @retval uint8_t: 0=基础模式 1=发挥模式
 * @note   通过测量0-1端口判断题型：开路=基础题，有元件=发挥题
 */
uint8_t Auto_Detect_Mode(void)
{
    float z, phase;
    uint8_t type;

    // 核心判断逻辑：测量A-B端口
    Measure_Impedance(0, 1, &z, &phase, &type);

    // 端口有元件：发挥模式
    if (type != 0) return 1;
    // 端口开路：基础模式
    else
        return 0;
}

/**
 * @brief  单按键扫描函数（一键启动测量）
 * @param  无
 * @retval uint8_t: 1=有效按键按下 0=无按键
 * @note   集成软件消抖+自锁机制，防止长按重复触发
 */
uint8_t Key_Scan(void)
{
    static uint8_t key_lock = 0;  // 静态自锁标志：仅初始化一次
    uint8_t key = 0;              // 按键返回值

    // 检测按键电平：高电平为按下（硬件上拉输入）
    if (HAL_GPIO_ReadPin(KEY_MEAS_BASIC_GPIO_Port, KEY_MEAS_BASIC_Pin) == GPIO_PIN_SET)
    {
        HAL_Delay(10);  // 10ms软件消抖：滤除机械抖动干扰
        // 二次确认按下 + 未自锁：判定为有效按键
        if (HAL_GPIO_ReadPin(KEY_MEAS_BASIC_GPIO_Port, KEY_MEAS_BASIC_Pin) == GPIO_PIN_SET && !key_lock)
        {
            key_lock = 1;  // 自锁：松开前不再响应
            key = 1;       // 返回有效按键
        }
    }
    else
    {
        key_lock = 0;  // 按键松开：解除自锁
    }
    return key;
}
/* USER CODE END 4 */

void Error_Handler(void)
{
    /* USER CODE BEGIN Error_Handler_Debug */
    /* User can add his own implementation to report the HAL error return state
     */
    __disable_irq();
    while (1)
    {
    }
    /* USER CODE END Error_Handler_Debug */
}
#ifdef USE_FULL_ASSERT
/**
 * @brief  Reports the name of the source file and the source line number
 *         where the assert_param error has occurred.
 * @param  file: pointer to the source file name
 * @param  line: assert_param error line source number
 * @retval None
 */
void assert_failed(uint8_t *file, uint32_t line)
{
    /* USER CODE BEGIN 6 */
    /* User can add his own implementation to report the file name and line
       number, ex: printf("Wrong parameters value: file %s on line %d\r\n", file,
       line) */
    /* USER CODE END 6 */
}
#endif /* USE_FULL_ASSERT */
